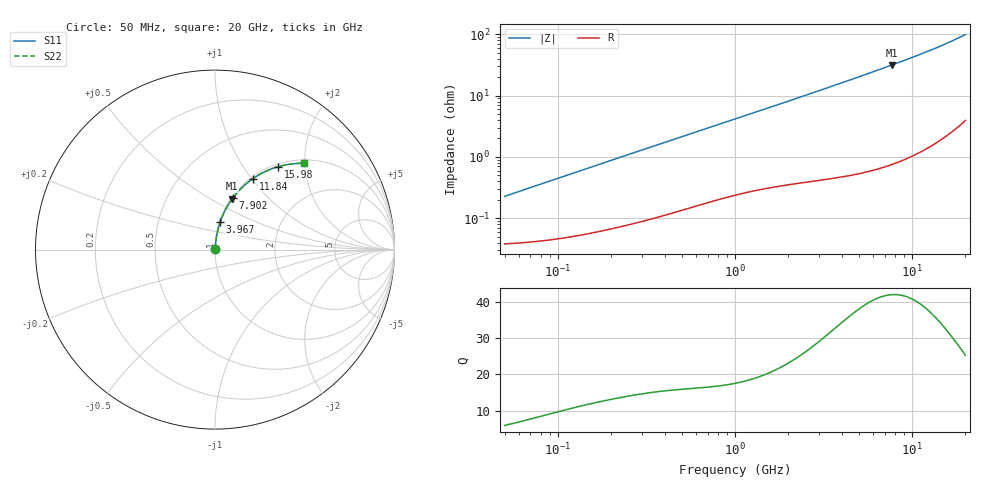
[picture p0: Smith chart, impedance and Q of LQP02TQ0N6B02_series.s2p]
!Murata Part Number: LQP02TQ0N6B02
!These Parameters are Measured in Series Mode Connection
!  o--[Z]--o
!Port1  Port2
!  o-------o
!Freq. Start=50[MHz] Stop=20[GHz], 401[Steps]
# Hz S RI R 50
!Freq.(Hz) S11(Real) S11(Imag) S21(Real) S21(Imag) S12(Real) S12(Imag) S22(Real) S22(Imag)
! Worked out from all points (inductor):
!   401 points, 50 MHz to 20 GHz, reference 50 ohm
!   read as one part in series: L = 713 pH near 51.52 MHz
!   highest Q = 42.1 at 7.668 GHz (marker M1), where L = 654 pH
!   S11 on the Smith chart (normalised r, x): 50 MHz: 1.00, +0.00; 3.967 GHz: 1.01, +0.32; 7.902 GHz: 1.02, +0.65; 11.84 GHz: 1.03, +1.02; 15.98 GHz: 1.05, +1.46; 20 GHz: 1.08, +1.99
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5e7  0.000386 0.00224  0.9996 -0.00224  0.9996 -0.00224  0.000386 0.00224
5.152053e7  0.000388 0.00231  0.9996 -0.00231  0.9996 -0.00231  0.000388 0.00231
1.364002e8  0.00057 0.00604  0.9994 -0.00604  0.9994 -0.00604  0.00057 0.00604
3.721004e8  0.00131 0.016  0.9987 -0.016  0.9987 -0.016  0.00131 0.016
6.380365e8  0.00238 0.0269  0.9976 -0.0269  0.9976 -0.0269  0.00238 0.0269
1e9  0.00408 0.0413  0.9959 -0.0413  0.9959 -0.0413  0.00408 0.0413
1.714689e9  0.00808 0.0691  0.9919 -0.0691  0.9919 -0.0691  0.00808 0.0691
2.728004e9  0.0158 0.1081  0.9842 -0.1081  0.9842 -0.1081  0.0158 0.1081
3.967106e9  0.0293 0.1547  0.9707 -0.1547  0.9707 -0.1547  0.0293 0.1547
5.598765e9  0.054 0.2138  0.946 -0.2138  0.946 -0.2138  0.054 0.2138
6.503449e9  0.0709 0.2449  0.9291 -0.2449  0.9291 -0.2449  0.0709 0.2449
7.442007e9  0.0908 0.2757  0.9092 -0.2757  0.9092 -0.2757  0.0908 0.2757
7.668323e9  0.096 0.2829  0.904 -0.2829  0.904 -0.2829  0.096 0.2829
7.901521e9  0.1014 0.2902  0.8986 -0.2902  0.8986 -0.2902  0.1014 0.2902
9.745021e9  0.1488 0.3439  0.8512 -0.3439  0.8512 -0.3439  0.1488 0.3439
1.082228e10  0.1798 0.3717  0.8202 -0.3717  0.8202 -0.3717  0.1798 0.3717
1.183995e10  0.211 0.3953  0.789 -0.3953  0.789 -0.3953  0.211 0.3953
1.375312e10  0.274 0.4321  0.726 -0.4321  0.726 -0.4321  0.274 0.4321
1.597544e10  0.3521 0.4621  0.6479 -0.4621  0.6479 -0.4621  0.3521 0.4621
1.800918e10  0.4259 0.4772  0.5741 -0.4772  0.5741 -0.4772  0.4259 0.4772
1.940974e10  0.4769 0.4808  0.5231 -0.4808  0.5231 -0.4808  0.4769 0.4808
2e10  0.4983 0.4806  0.5017 -0.4806  0.5017 -0.4806  0.4983 0.4806
